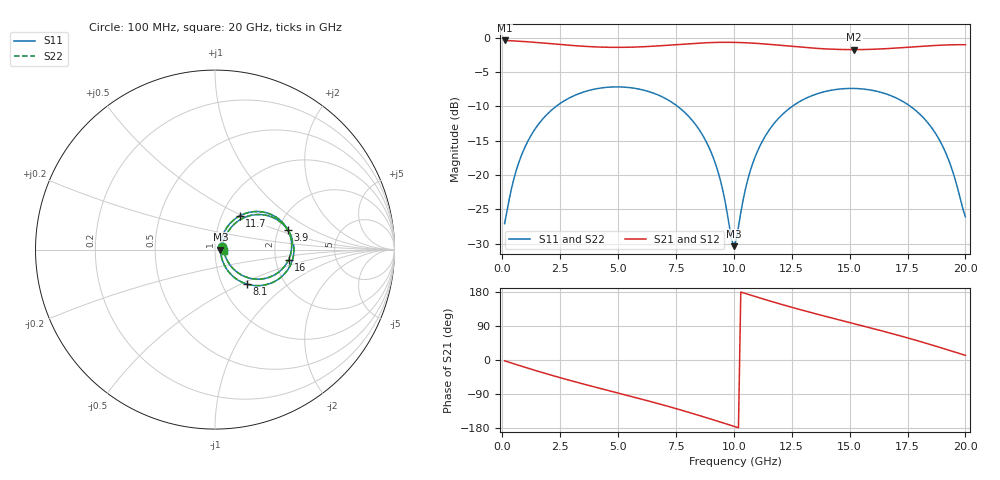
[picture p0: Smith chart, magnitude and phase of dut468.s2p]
! Touchstone file exported from HFSS 2026.1.0
!  File:  C:/ffzhzh/LocalFiles/Ansys_Project_Files/temp_train_TSV_RDL_468_1783102414_35180.aedt
!  Generated:  02:26:58 AM Jul  4, 2026
!  Design:  TSV_RDL
!  Project:  temp_train_TSV_RDL_468_1783102414_35180
! Variables:
!  h_bsmrdl = 5.82um
!  h_ox = 20um
!  h_rdl = 5um
!  h_sub = 67.73um
!  h_tmrdl = 2.84um
!  h_tsv = 67.73um
!  h_via = 3um
!  l_bsmrdl = 573.91um
!  l_sub = 5944.17um
!  l_tmrdl = 936.05um
!  m_sub = 200um
!  pitch = 28.86um
!  r_tsv = 8.5um
!  s_tmrdl = 10um
!  w_bsmrdl = 11.32um
!  w_sub = 500um
!  w_tmrdl = 14.76um
!  x_tsv_center1 = 943.43um
!  x_tsv_center2 = 1528.66um
!  x_tsv_center3 = 2479.47um
!  x_tsv_center4 = 3064.7um
!  x_tsv_center5 = 4015.51um
!  x_tsv_center6 = 4600.74um
# GHz S MA R 50.000000
! Terminal data exported
! Port[1] = TM_RDL1_1_T1
! Port[2] = TM_RDL5_1_T1
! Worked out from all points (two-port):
!   200 points, 100 MHz to 20 GHz, reference 50 ohm
!   highest |S21| = -0.36 dB at 100 MHz (marker M1); lowest = -1.7 dB at 15.2 GHz (marker M2)
!   |S21| within 3 dB of the highest: start of sweep to end of sweep
!   lowest |S11| = -30.4 dB at 10 GHz (marker M3), VSWR 1.06, Z = 53.1 + j0.0318 ohm
!   |S11| at or under -10 dB: start of sweep to 2.317 GHz; 7.58 GHz to 12.51 GHz (4.931 GHz wide, 49.1 % of centre); 17.63 GHz to end of sweep
!   |S22| runs from -30.3 to -7.1 dB; largest |S21 - S12| = 1.7e-14
!   S11 on the Smith chart (normalised r, x): 100 MHz: 1.09, +0.04; 3.9 GHz: 2.26, +0.60; 8.1 GHz: 1.31, -0.54; 11.7 GHz: 1.21, +0.48; 16 GHz: 2.36, -0.32; 20 GHz: 1.10, -0.02
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0.1  0.04417 21.4  0.9593 -2.1  0.9593 -2.1  0.04417 21.4
! Gamma 0 0 0 0
! Port Impedance 50 0 50 0
0.6  0.1076 53.2  0.9499 -12.0  0.9499 -12.0  0.1076 53.2
1.3  0.202 51.2  0.9326 -25.2  0.9326 -25.2  0.202 51.2
2.3  0.3146 38.4  0.9024 -43.2  0.9024 -43.2  0.3146 38.4
3.5  0.4028 20.9  0.8701 -63.4  0.8701 -63.4  0.4028 20.9
3.9  0.4204 15.1  0.8627 -69.8  0.8627 -69.8  0.4204 15.1
5.3  0.4375 -5.3  0.8549 -91.9  0.8549 -91.9  0.4376 -5.3
6.8  0.3792 -27.6  0.8771 -116.2  0.8771 -116.2  0.3792 -27.5
8.1  0.2621 -47.2  0.9091 -138.9  0.9091 -138.9  0.2622 -47.1
9.2  0.1217 -59.2  0.9281 -159.5  0.9281 -159.5  0.1218 -59.0
10  0.03024 0.6  0.9291 -174.9  0.9291 -174.9  0.03055 0.5
10.1  0.03342 25.0  0.9283 -176.9  0.9283 -176.9  0.03369 24.8
10.7  0.1059 62.3  0.9196 171.7  0.9196 171.7  0.106 62.1
11.7  0.2335 53.7  0.8937 153.1  0.8937 153.1  0.2335 53.7
13.4  0.3808 29.2  0.844 124.1  0.844 124.1  0.3808 29.2
15.2  0.4282 3.6  0.8223 95.7  0.8223 95.7  0.4282 3.6
16  0.4143 -7.7  0.8271 83.1  0.8271 83.1  0.4143 -7.7
16.7  0.384 -17.6  0.8379 71.8  0.8379 71.8  0.3841 -17.6
17.8  0.3011 -33.1  0.8624 53.2  0.8624 53.2  0.3011 -33.0
18.7  0.2023 -44.0  0.8821 36.9  0.8821 36.9  0.2025 -43.9
19.3  0.1258 -46.1  0.8907 25.6  0.8907 25.6  0.126 -45.9
20  0.04953 -9.3  0.8933 12.3  0.8933 12.3  0.05014 -9.1
